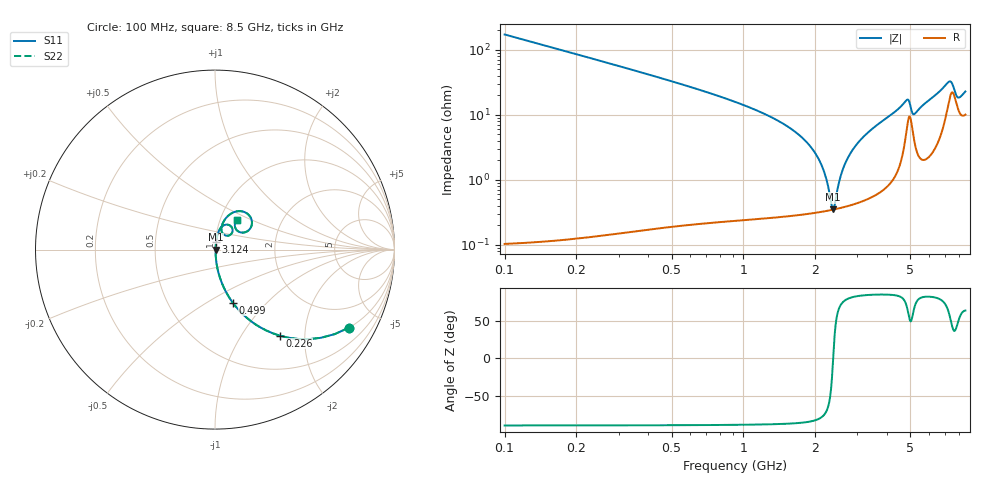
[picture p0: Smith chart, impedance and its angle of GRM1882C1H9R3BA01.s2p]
!Murata Part Number: GRM1882C1H9R3BA01
!These Parameters are Measured in Series Mode Connection
!Data Generated on Mar 30, 2021
!  o--ll--o
!Port1  Port2
!  o------o
!Operation Temp=25[degC], DC Bias Voltage=0[V]
!Freq. Start=100[MHz] Stop=9[GHz] 401[Steps]
# Hz S RI R 50
!Freq.(Hz) S11(Real) S11(Imag) S21(Real) S21(Imag) S12(Real) S12(Imag) S22(Real) S22(Imag)
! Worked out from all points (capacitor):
!   401 points, 100 MHz to 8.5 GHz, reference 50 ohm
!   read as one part in series: C = 9.3 pF near 142 MHz
!   lowest |Z| = 351 mohm at 2.368 GHz (marker M1)
!   series resonance near 2.375 GHz, so ESL is about 480 pH
!   S11 on the Smith chart (normalised r, x): 100 MHz: 1.00, -3.42; 226 MHz: 1.00, -1.50; 499 MHz: 1.00, -0.66; 3.124 GHz: 1.01, +0.09; 8.5 GHz: 1.20, +0.41
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1e8  0.7446 -0.4358  0.2554 0.4358  0.2554 0.4358  0.7446 -0.4358
2.26e8  0.3602 -0.4792  0.6398 0.4792  0.6398 0.4792  0.3602 -0.4792
3.31e8  0.205 -0.4021  0.795 0.4021  0.795 0.4021  0.205 -0.4021
4.99e8  0.0983 -0.2948  0.9017 0.2948  0.9017 0.2948  0.0983 -0.2948
1.507e9  0.00736 -0.0678  0.9926 0.0678  0.9926 0.0678  0.00736 -0.0678
1.822e9  0.00449 -0.039  0.9955 0.039  0.9955 0.039  0.00449 -0.039
2.053e9  0.00361 -0.0214  0.9964 0.0214  0.9964 0.0214  0.00361 -0.0214
2.2e9  0.00342 -0.0113  0.9966 0.0113  0.9966 0.0113  0.00342 -0.0113
2.368e9  0.00347 -0.000458  0.9965 0.000458  0.9965 0.000458  0.00347 -0.000458
2.41e9  0.00352 0.00214  0.9965 -0.00214  0.9965 -0.00214  0.00352 0.00214
2.515e9  0.00372 0.00847  0.9963 -0.00847  0.9963 -0.00847  0.00372 0.00847
2.62e9  0.00399 0.0146  0.996 -0.0146  0.996 -0.0146  0.00399 0.0146
2.914e9  0.00519 0.0309  0.9948 -0.0309  0.9948 -0.0309  0.00519 0.0309
3.124e9  0.0064 0.0421  0.9936 -0.0421  0.9936 -0.0421  0.0064 0.0421
4.3e9  0.0225 0.1062  0.9775 -0.1062  0.9775 -0.1062  0.0225 0.1062
4.825e9  0.0759 0.1377  0.9241 -0.1377  0.9241 -0.1377  0.0759 0.1377
5.161e9  0.0503 0.0828  0.9497 -0.0828  0.9497 -0.0828  0.0503 0.0828
5.707e9  0.039 0.1356  0.961 -0.1356  0.961 -0.1356  0.039 0.1356
7.114e9  0.1549 0.2122  0.8451 -0.2122  0.8451 -0.2122  0.1549 0.2122
7.408e9  0.2056 0.1562  0.7944 -0.1562  0.7944 -0.1562  0.2056 0.1562
7.891e9  0.1252 0.1046  0.8748 -0.1046  0.8748 -0.1046  0.1252 0.1046
8.5e9  0.1216 0.1629  0.8784 -0.1629  0.8784 -0.1629  0.1216 0.1629
